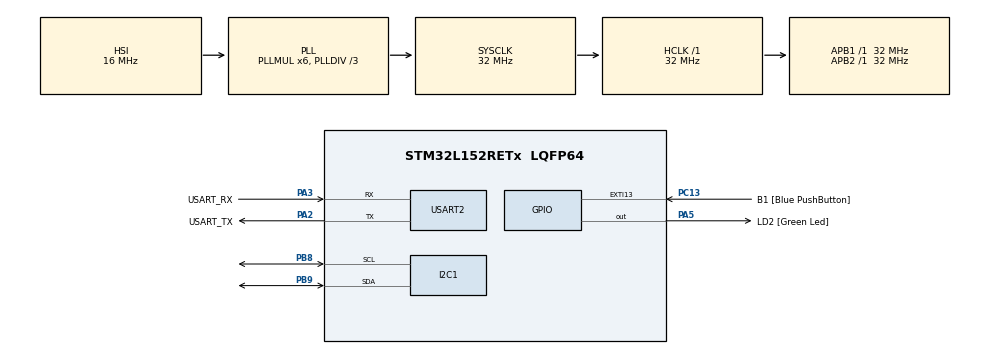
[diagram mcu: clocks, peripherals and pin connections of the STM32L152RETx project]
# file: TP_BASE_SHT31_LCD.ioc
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Mcu.Family=STM32L1
Mcu.Name=STM32L152RETx
Mcu.Package=LQFP64
NVIC.I2C1_ER_IRQn=true\:0\:0\:false\:false\:true\:true\:true
NVIC.I2C1_EV_IRQn=true\:0\:0\:false\:false\:true\:true\:true
NVIC.PriorityGroup=NVIC_PRIORITYGROUP_0
NVIC.TIM7_IRQn=true\:0\:0\:false\:false\:true\:true\:true
PA13.GPIO_Label=TMS
PA13.Mode=Serial_Wire
PA13.Signal=SYS_JTMS-SWDIO
PA14.GPIO_Label=TCK
PA14.Mode=Serial_Wire
PA14.Signal=SYS_JTCK-SWCLK
PA2.GPIO_Label=USART_TX
PA2.Mode=Asynchronous
PA2.Signal=USART2_TX
PA3.GPIO_Label=USART_RX
PA3.Mode=Asynchronous
PA3.Signal=USART2_RX
PA5.GPIO_Label=LD2 [Green Led]
PA5.Signal=GPIO_Output
PB3.GPIO_Label=SWO
PB3.Signal=SYS_JTDO-TRACESWO
PB8.GPIO_Pu=GPIO_PULLUP
PB8.Mode=I2C
PB8.Signal=I2C1_SCL
PB9.GPIO_Pu=GPIO_PULLUP
PB9.Mode=I2C
PB9.Signal=I2C1_SDA
PC13-WKUP2.GPIO_Label=B1 [Blue PushButton]
PC13-WKUP2.Signal=GPXTI13
PC14-OSC32_IN.Mode=LSE-External-Oscillator
PC14-OSC32_IN.Signal=RCC_OSC32_IN
PC15-OSC32_OUT.Mode=LSE-External-Oscillator
PC15-OSC32_OUT.Signal=RCC_OSC32_OUT
PH0-OSC_IN.Mode=HSE-External-Clock-Source
PH0-OSC_IN.Signal=RCC_OSC_IN
PH1-OSC_OUT.Signal=RCC_OSC_OUT
ProjectManager.HeapSize=0x200
ProjectManager.StackSize=0x400
ProjectManager.TargetToolchain=STM32CubeIDE
RCC.48MHZClocksFreq_Value=48000000
RCC.AHBFreq_Value=32000000
RCC.APB1Freq_Value=32000000
RCC.APB1TimFreq_Value=32000000
RCC.APB2Freq_Value=32000000
RCC.APB2TimFreq_Value=32000000
RCC.HCLKFreq_Value=32000000
RCC.HSE_VALUE=8000000
RCC.HSI_VALUE=16000000
RCC.MSI_VALUE=2097000
RCC.PLLDIV=RCC_PLL_DIV3
RCC.PLLMUL=RCC_PLL_MUL6
RCC.RTCClockSelectionVirtual=RCC_RTCCLKSOURCE_LSE
RCC.SYSCLKFreq_VALUE=32000000
RCC.SYSCLKSource=RCC_SYSCLKSOURCE_PLLCLK
RCC.USBOutput=48000000
RCC.VCOOutputFreq_Value=96000000
TIM7.Period=10-1
TIM7.Prescaler=32-1
USART2.VirtualMode=VM_ASYNC
VP_TIM7_VS_ClockSourceINT.Mode=Enable_Timer
board=NUCLEO-L152RE

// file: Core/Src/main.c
/* USER CODE BEGIN Header */
/**
  ******************************************************************************
  * @file           : main.c
  * @brief          : Main program body
  ******************************************************************************
  * @attention
  *
  * <h2><center>&copy; Copyright (c) 2021 STMicroelectronics.
  * All rights reserved.</center></h2>
  *
  * This software component is licensed by ST under BSD 3-Clause license,
  * the "License"; You may not use this file except in compliance with the
  * License. You may obtain a copy of the License at:
  *                        opensource.org/licenses/BSD-3-Clause
  *
  ******************************************************************************
  */
/* USER CODE END Header */
#include "main.h"
#include "i2c.h"
#include "tim.h"
#include "usart.h"
#include "gpio.h"

/* USER CODE BEGIN Includes */
#include "lib_lcd.h"
#include "STH31.h"
#include <stdio.h>
/* USER CODE END Includes */

/* USER CODE BEGIN PV */
rgb_lcd DataStruct;

 SHT31_data_t data;
 uint8_t Data_T[256];
 uint8_t Data_H[256];
/* USER CODE END PV */

void SystemClock_Config(void);

int main(void)
{

  /* MCU Configuration--------------------------------------------------------*/

  /* Reset of all peripherals, Initializes the Flash interface and the Systick. */
  HAL_Init();

  /* Configure the system clock */
  SystemClock_Config();

  /* Initialize all configured peripherals */
  MX_GPIO_Init();
  MX_USART2_UART_Init();
  MX_I2C1_Init();
  MX_TIM7_Init();
  /* USER CODE BEGIN 2 */
  	  /* INIT LCD */
	  rgb_lcd LCD_DataStruct;
	  LCD_DataStruct._displaycontrol = LCD_DISPLAYON;
	  LCD_DataStruct._displayfunction = LCD_2LINE;
	  LCD_DataStruct._displaymode = LCD_ENTRYLEFT;

	  lcd_init(&hi2c1, &LCD_DataStruct);

	  reglagecouleur(255,0,0);

	  HAL_Delay(500);

	 	char text_buff1[32];
	 	sprintf(text_buff1,"  STM32 - TP");
	 	lcd_position(&hi2c1,0,0);
	 	lcd_print(&hi2c1, text_buff1);

	 	char text_buff2[32];
		sprintf(text_buff2, "  SHT31 - I2C");
		lcd_position(&hi2c1,0,1);
		lcd_print(&hi2c1, text_buff2);
		HAL_Delay(1500);

  /* USER CODE END 2 */

  /* Infinite loop */
  while (1)
  {
	  data=SHT31_readData(&hi2c1); // lecture de la temperature et l'humidite sth31
	  	HAL_Delay(500);

	 	char text_buff1[32];
	 	sprintf(text_buff1,"Temp : %.2f C",data.T);
	 	lcd_position(&hi2c1,0,0);
	 	lcd_print(&hi2c1, text_buff1);

	 	char text_buff2[32];
		sprintf(text_buff2, "Hum : %.2f %%",data.H);
		lcd_position(&hi2c1,0,1);
		lcd_print(&hi2c1, text_buff2);

		reglagecouleur(200,200,255);

		HAL_Delay(750);
  }
}

void SystemClock_Config(void)
{
  RCC_OscInitTypeDef RCC_OscInitStruct = {0};
  RCC_ClkInitTypeDef RCC_ClkInitStruct = {0};

  /** Configure the main internal regulator output voltage
  */
  __HAL_PWR_VOLTAGESCALING_CONFIG(PWR_REGULATOR_VOLTAGE_SCALE1);
  /** Initializes the RCC Oscillators according to the specified parameters
  * in the RCC_OscInitTypeDef structure.
  */
  RCC_OscInitStruct.OscillatorType = RCC_OSCILLATORTYPE_HSI;
  RCC_OscInitStruct.HSIState = RCC_HSI_ON;
  RCC_OscInitStruct.HSICalibrationValue = RCC_HSICALIBRATION_DEFAULT;
  RCC_OscInitStruct.PLL.PLLState = RCC_PLL_ON;
  RCC_OscInitStruct.PLL.PLLSource = RCC_PLLSOURCE_HSI;
  RCC_OscInitStruct.PLL.PLLMUL = RCC_PLL_MUL6;
  RCC_OscInitStruct.PLL.PLLDIV = RCC_PLL_DIV3;
  if (HAL_RCC_OscConfig(&RCC_OscInitStruct) != HAL_OK)
  {
    Error_Handler();
  }
  /** Initializes the CPU, AHB and APB buses clocks
  */
  RCC_ClkInitStruct.ClockType = RCC_CLOCKTYPE_HCLK|RCC_CLOCKTYPE_SYSCLK
                              |RCC_CLOCKTYPE_PCLK1|RCC_CLOCKTYPE_PCLK2;
  RCC_ClkInitStruct.SYSCLKSource = RCC_SYSCLKSOURCE_PLLCLK;
  RCC_ClkInitStruct.AHBCLKDivider = RCC_SYSCLK_DIV1;
  RCC_ClkInitStruct.APB1CLKDivider = RCC_HCLK_DIV1;
  RCC_ClkInitStruct.APB2CLKDivider = RCC_HCLK_DIV1;

  if (HAL_RCC_ClockConfig(&RCC_ClkInitStruct, FLASH_LATENCY_1) != HAL_OK)
  {
    Error_Handler();
  }
}

void Error_Handler(void)
{
  __disable_irq();
  while (1)
  {
  }
}

/************************ (C) COPYRIGHT STMicroelectronics *****END OF FILE****/
